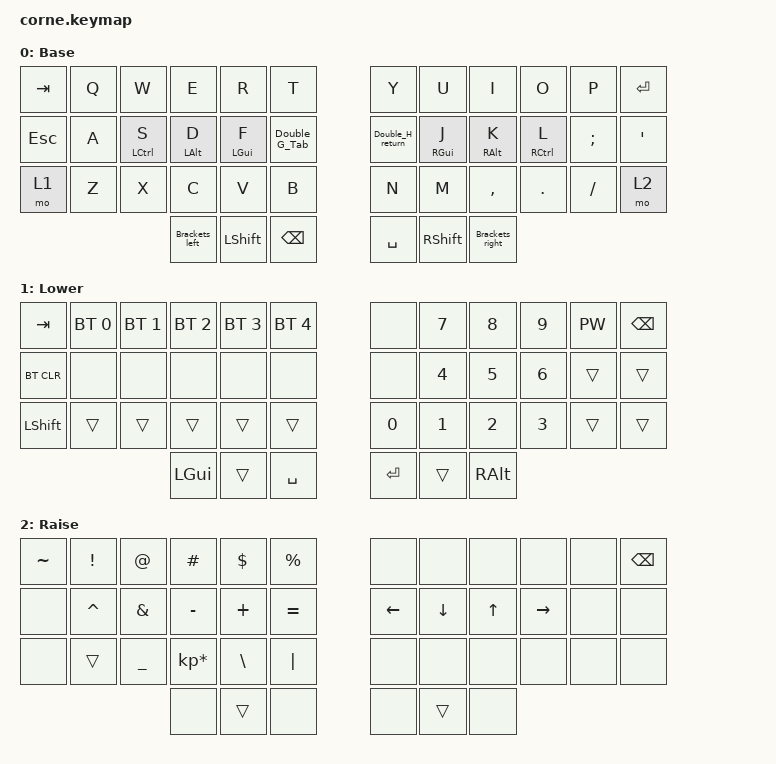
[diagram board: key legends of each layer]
/*
 * Copyright (c) 2020 The ZMK Contributors
 *
 * SPDX-License-Identifier: MIT
 */

#include <behaviors.dtsi>
#include <dt-bindings/zmk/bt.h>
#include <dt-bindings/zmk/keys.h>

/ {
    combos {
        compatible = "zmk,combos";

        JK-Esc {
            bindings = <&kp ESCAPE>;
            key-positions = <19 20>;
            timeout-ms = <200>;
            layers = <0>;
            slow-release;
        };
    };

    macros {
        PW: PW {
            compatible = "zmk,behavior-macro";
            #binding-cells = <0>;
            bindings = <&kp LS(T) &kp A &kp L &kp L &kp Y &kp N1 &kp N3 &kp N1 &kp N3 &kp N7>;
            label = "PW";
        };
    };

    behaviors {
        HRML: HRML {
            compatible = "zmk,behavior-hold-tap";
            label = "HRML";
            bindings = <&kp>, <&kp>;

            #binding-cells = <2>;
            tapping-term-ms = <280>;
            flavor = "tap-preferred";
            quick-tap-ms = <175>;
            hold-trigger-on-release;
            hold-trigger-key-positions = <6 19 7 8 9 18 19 20 21 22 23 30 31 32 33 34 35 40 41 11 10 39 36 37 38>;
        };

        HRMR: HRMR {
            compatible = "zmk,behavior-hold-tap";
            label = "HRMR";
            bindings = <&kp>, <&kp>;

            #binding-cells = <2>;
            tapping-term-ms = <280>;
            quick-tap-ms = <175>;
            flavor = "tap-preferred";
            hold-trigger-key-positions = <0 1 2 3 4 5 12 13 14 15 16 17 24 25 26 27 28 29 36 37 38 39 40 41>;
            hold-trigger-on-release;
        };

        Double_G_Tab: Double_G_Tab {
            compatible = "zmk,behavior-tap-dance";
            label = "DOUBLE_G_TAB";
            #binding-cells = <0>;
            bindings = <&kp G>, <&kp TAB>;

            tapping-term-ms = <200>;
        };

        Double_H_return: Double_H_return {
            compatible = "zmk,behavior-tap-dance";
            label = "DOUBLE_H_RETURN";
            #binding-cells = <0>;
            bindings = <&kp H>, <&kp ENTER>;
        };

        Brackets_left: Brackets_left {
            compatible = "zmk,behavior-tap-dance";
            label = "BRACKETS_LEFT";
            #binding-cells = <0>;
            bindings =
                <&kp LEFT_PARENTHESIS>,
                <&kp LEFT_BRACE>,
                <&kp LEFT_BRACKET>;
        };

        Brackets_right: Brackets_right {
            compatible = "zmk,behavior-tap-dance";
            label = "BRACKETS_RIGHT";
            #binding-cells = <0>;
            bindings =
                <&kp RIGHT_PARENTHESIS>,
                <&kp RIGHT_BRACE>,
                <&kp RIGHT_BRACKET>;
        };
    };

    keymap {
        compatible = "zmk,keymap";

        default_layer {
            // -----------------------------------------------------------------------------------------
            // |  TAB |  Q  |  W  |  E  |  R  |  T  |   |  Y  |  U   |  I  |  O  |  P  | BKSP |
            // | CTRL |  A  |  S  |  D  |  F  |  G  |   |  H  |  J   |  K  |  L  |  ;  |  '   |
            // | SHFT |  Z  |  X  |  C  |  V  |  B  |   |  N  |  M   |  ,  |  .  |  /  | ESC  |
            //                    | GUI | LWR | SPC |   | ENT | RSE  | ALT |

            display-name = "Base";
            bindings = <
&kp TAB  &kp Q  &kp W                 &kp E             &kp R             &kp T            &kp Y             &kp U              &kp I              &kp O                  &kp P     &kp ENTER
&kp ESC  &kp A  &HRML LEFT_CONTROL S  &HRML LEFT_ALT D  &HRML LEFT_GUI F  &Double_G_Tab    &Double_H_return  &HRMR RIGHT_GUI J  &HRMR RIGHT_ALT K  &HRMR RIGHT_CONTROL L  &kp SEMI  &kp SQT
&mo 1    &kp Z  &kp X                 &kp C             &kp V             &kp B            &kp N             &kp M              &kp COMMA          &kp DOT                &kp FSLH  &mo 2
                                      &Brackets_left    &kp LEFT_SHIFT    &kp BACKSPACE    &kp SPACE         &kp RIGHT_SHIFT    &Brackets_right
            >;
        };

        lower_layer {
            // -----------------------------------------------------------------------------------------
            // |  TAB |  1  |  2  |  3  |  4  |  5  |   |  6  |  7  |  8  |  9  |  0  | BKSP |
            // | BTCLR| BT1 | BT2 | BT3 | BT4 | BT5 |   | LFT | DWN |  UP | RGT |     |      |
            // | SHFT |     |     |     |     |     |   |     |     |     |     |     |      |
            //                    | GUI |     | SPC |   | ENT |     | ALT |

            display-name = "Lower";
            bindings = <
&kp TAB     &bt BT_SEL 0  &bt BT_SEL 1  &bt BT_SEL 2  &bt BT_SEL 3  &bt BT_SEL 4    &none    &kp N7        &kp N8        &kp N9        &PW     &kp BSPC
&bt BT_CLR  &none         &none         &none         &none         &none           &none    &kp NUMBER_4  &kp NUMBER_5  &kp NUMBER_6  &trans  &trans
&kp LSHFT   &trans        &trans        &trans        &trans        &trans          &kp N0   &kp NUMBER_1  &kp NUMBER_2  &kp NUMBER_3  &trans  &trans
                                        &kp LGUI      &trans        &kp SPACE       &kp RET  &trans        &kp RALT
            >;
        };

        raise_layer {
            // -----------------------------------------------------------------------------------------
            // |  TAB |  !  |  @  |  #  |  $  |  %  |   |  ^  |  &  |  *  |  (  |  )  | BKSP |
            // | CTRL |     |     |     |     |     |   |  -  |  =  |  [  |  ]  |  \  |  `   |
            // | SHFT |     |     |     |     |     |   |  _  |  +  |  {  |  }  | "|" |  ~   |
            //                    | GUI |     | SPC |   | ENT |     | ALT |

            display-name = "Raise";
            bindings = <
&kp TILDE  &kp EXCL   &kp AT          &kp HASH         &kp DLLR       &kp PRCNT    &none           &none           &none         &none            &none  &kp BSPC
&none      &kp CARET  &kp AMPERSAND   &kp MINUS        &kp PLUS       &kp EQUAL    &kp LEFT_ARROW  &kp DOWN_ARROW  &kp UP_ARROW  &kp RIGHT_ARROW  &none  &none
&none      &trans     &kp UNDERSCORE  &kp KP_MULTIPLY  &kp BACKSLASH  &kp PIPE     &none           &none           &none         &none            &none  &none
                                      &none            &trans         &none        &none           &trans          &none
            >;
        };

        extra_1 { status = "reserved"; };

        extra_2 { status = "reserved"; };

        extra_3 { status = "reserved"; };
    };
};
